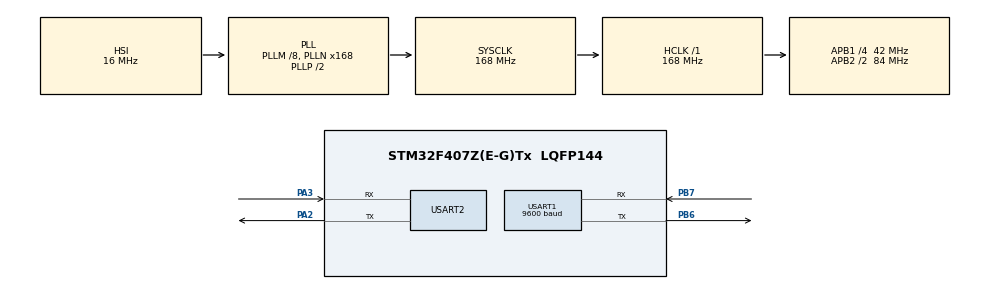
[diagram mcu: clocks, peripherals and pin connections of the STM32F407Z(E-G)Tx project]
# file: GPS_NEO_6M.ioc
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Mcu.Family=STM32F4
Mcu.Name=STM32F407Z(E-G)Tx
Mcu.Package=LQFP144
NVIC.PriorityGroup=NVIC_PRIORITYGROUP_4
NVIC.TIM6_DAC_IRQn=true\:0\:0\:false\:false\:true\:true\:true\:true
NVIC.USART1_IRQn=true\:0\:0\:false\:false\:true\:true\:true\:true
NVIC.USART2_IRQn=true\:0\:0\:false\:false\:true\:true\:true\:true
PA13.Mode=Serial_Wire
PA13.Signal=SYS_JTMS-SWDIO
PA14.Mode=Serial_Wire
PA14.Signal=SYS_JTCK-SWCLK
PA2.Mode=Asynchronous
PA2.Signal=USART2_TX
PA3.Mode=Asynchronous
PA3.Signal=USART2_RX
PB6.Mode=Asynchronous
PB6.Signal=USART1_TX
PB7.Mode=Asynchronous
PB7.Signal=USART1_RX
PH0-OSC_IN.Mode=HSE-External-Oscillator
PH0-OSC_IN.Signal=RCC_OSC_IN
PH1-OSC_OUT.Mode=HSE-External-Oscillator
PH1-OSC_OUT.Signal=RCC_OSC_OUT
ProjectManager.HeapSize=0x200
ProjectManager.StackSize=0x400
ProjectManager.TargetToolchain=MDK-ARM V5.32
RCC.48MHZClocksFreq_Value=84000000
RCC.AHBFreq_Value=168000000
RCC.APB1CLKDivider=RCC_HCLK_DIV4
RCC.APB1Freq_Value=42000000
RCC.APB1TimFreq_Value=84000000
RCC.APB2CLKDivider=RCC_HCLK_DIV2
RCC.APB2Freq_Value=84000000
RCC.APB2TimFreq_Value=168000000
RCC.CortexFreq_Value=168000000
RCC.HCLKFreq_Value=168000000
RCC.HSE_VALUE=8000000
RCC.HSI_VALUE=16000000
RCC.LSE_VALUE=32768
RCC.PLLM=8
RCC.PLLN=168
RCC.SYSCLKFreq_VALUE=168000000
RCC.SYSCLKSource=RCC_SYSCLKSOURCE_PLLCLK
RCC.VCOOutputFreq_Value=336000000
TIM6.Period=10000-1
TIM6.Prescaler=16800-1
USART1.BaudRate=9600
USART1.VirtualMode=VM_ASYNC
USART2.VirtualMode=VM_ASYNC
VP_TIM6_VS_ClockSourceINT.Mode=Enable_Timer
board=custom

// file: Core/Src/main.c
/* USER CODE BEGIN Header */
/**
  ******************************************************************************
  * @file           : main.c
  * @brief          : Main program body
  ******************************************************************************
  * @attention
  *
  * Copyright (c) 2023 STMicroelectronics.
  * All rights reserved.
  *
  * This software is licensed under terms that can be found in the LICENSE file
  * in the root directory of this software component.
  * If no LICENSE file comes with this software, it is provided AS-IS.
  *
  ******************************************************************************
  */
/* USER CODE END Header */
#include "main.h"
#include "tim.h"
#include "usart.h"
#include "gpio.h"

void SystemClock_Config(void);

/* USER CODE BEGIN 0 */
 extern bool_t GPS_flag;
 extern uint8_t USART_RX_BUF[1];
 extern uint8_t OTA_buff[1023];
 extern Mgps_msg Mgps;
 extern int32_t i;

extern fp32 latitude;

extern fp32 longitude;

// extern fp32 latitude;
// extern fp32 longitude;
/* USER CODE END 0 */

int main(void)
{
  /* USER CODE BEGIN 1 */
GPS_flag = 1;
  /* USER CODE END 1 */

  /* MCU Configuration--------------------------------------------------------*/

  /* Reset of all peripherals, Initializes the Flash interface and the Systick. */
  HAL_Init();

  /* Configure the system clock */
  SystemClock_Config();

  /* Initialize all configured peripherals */
  MX_GPIO_Init();
  MX_USART1_UART_Init();
  MX_TIM6_Init();
  MX_USART2_UART_Init();
  /* USER CODE BEGIN 2 */
	HAL_UART_Receive_IT(&huart1,USART_RX_BUF,1);	//开启串口1接收中断
//	HAL_TIM_Base_Start_IT(&htim6);
  /* USER CODE END 2 */

  /* Infinite loop */
  while (1)
  {

    /* USER CODE BEGIN 3 */

	  if(GPS_flag == 1)
			{

			Andly_GPS(&Mgps,OTA_buff);
//			uint8_t *la= NULL;
//			la = Mgps.latitude;
			printf("纬度：");
			printf("\r\n%s\r\n",Mgps.latitude);
//			uint8_t *lo= NULL;
//			lo = Mgps.longitude;
			printf("经度：");
			printf("\r\n%s\n",Mgps.longitude);
			HAL_Delay(1000);

			while(i < 6)
		{
			i++;
						if(i == 0)
			{
				latitude = 118.01639f;
				longitude = 36.81530f;
			}
			else if(i == 1)
			{
				latitude = 118.01632f;
				longitude = 36.81519f;
			}
			else if(i == 2)
			{
				latitude = 118.01635f;
				longitude = 36.81511f;
			}
			else if(i == 3)
			{
				latitude = 118.01637f;
				longitude = 36.81512f;
			}
			else if(i == 4)
			{
				latitude = 118.06136f;
				longitude = 36.81510f;
			}
			else
			{
				latitude = 118.01639f;
				longitude = 36.81504f;
			}
			printf("\r\n");
			printf("纬度：");
			printf("\r\n%.8f\r\n",latitude);
			printf("经度：");
			printf("\r\n%.8f\n",longitude);
		}
		i = 0;

	  }

  }
  /* USER CODE END 3 */
}

void SystemClock_Config(void)
{
  RCC_OscInitTypeDef RCC_OscInitStruct = {0};
  RCC_ClkInitTypeDef RCC_ClkInitStruct = {0};

  /** Configure the main internal regulator output voltage
  */
  __HAL_RCC_PWR_CLK_ENABLE();
  __HAL_PWR_VOLTAGESCALING_CONFIG(PWR_REGULATOR_VOLTAGE_SCALE1);

  /** Initializes the RCC Oscillators according to the specified parameters
  * in the RCC_OscInitTypeDef structure.
  */
  RCC_OscInitStruct.OscillatorType = RCC_OSCILLATORTYPE_HSI;
  RCC_OscInitStruct.HSIState = RCC_HSI_ON;
  RCC_OscInitStruct.HSICalibrationValue = RCC_HSICALIBRATION_DEFAULT;
  RCC_OscInitStruct.PLL.PLLState = RCC_PLL_ON;
  RCC_OscInitStruct.PLL.PLLSource = RCC_PLLSOURCE_HSI;
  RCC_OscInitStruct.PLL.PLLM = 8;
  RCC_OscInitStruct.PLL.PLLN = 168;
  RCC_OscInitStruct.PLL.PLLP = RCC_PLLP_DIV2;
  RCC_OscInitStruct.PLL.PLLQ = 4;
  if (HAL_RCC_OscConfig(&RCC_OscInitStruct) != HAL_OK)
  {
    Error_Handler();
  }

  /** Initializes the CPU, AHB and APB buses clocks
  */
  RCC_ClkInitStruct.ClockType = RCC_CLOCKTYPE_HCLK|RCC_CLOCKTYPE_SYSCLK
                              |RCC_CLOCKTYPE_PCLK1|RCC_CLOCKTYPE_PCLK2;
  RCC_ClkInitStruct.SYSCLKSource = RCC_SYSCLKSOURCE_PLLCLK;
  RCC_ClkInitStruct.AHBCLKDivider = RCC_SYSCLK_DIV1;
  RCC_ClkInitStruct.APB1CLKDivider = RCC_HCLK_DIV4;
  RCC_ClkInitStruct.APB2CLKDivider = RCC_HCLK_DIV2;

  if (HAL_RCC_ClockConfig(&RCC_ClkInitStruct, FLASH_LATENCY_5) != HAL_OK)
  {
    Error_Handler();
  }
}

void Error_Handler(void)
{
  __disable_irq();
  while (1)
  {
  }
}
